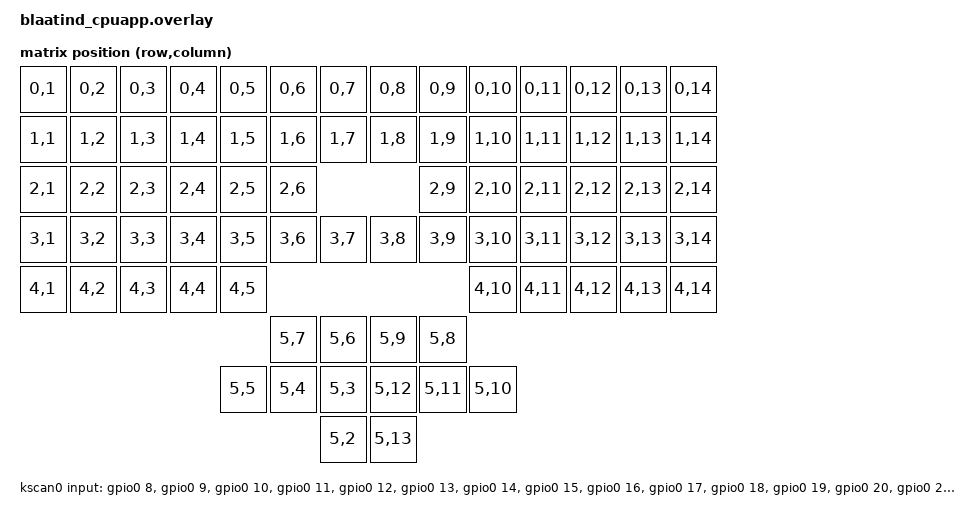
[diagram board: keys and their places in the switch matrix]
#include <dt-bindings/led/led.h>
#include <dt-bindings/zmk/matrix_transform.h>
#include <dt-bindings/led/led.h>

/{
    aliases {
        led-strip = &led_strip;
    };

    chosen {
        zmk,underglow = &led_strip;
    };
};

/ {
	chosen {
		zmk,kscan = &kscan0;
		zmk,matrix_transform = &default_transform;
		zmk,battery = &vbatt_vddh;
		zephyr,display = &oled;
	};

	ext-power {
		compatible = "zmk,ext-power-generic";
		label = "EXT_POWER";
		control-gpios = <&gpio0 3 GPIO_ACTIVE_HIGH>;
	};
	
	vbatt_vddh: vbatt0 {
		compatible = "zmk,battery-nrf-vddh";
		label = "BATTERY_VDDH";
	};
	
	vbatt_divider: vbatt1 {
		compatible = "zmk,battery-voltage-divider";
		label = "BATTERY_DIVIDER";
		io-channels = <&adc 2>;
		output-ohms = <180000>;
		full-ohms = <(180000 + 1500000)>;
	};

	kscan0: kscan {
		compatible="zmk,kscan-gpio-direct";
		label = "KSCAN";
		input-gpios =
			<&gpio0 8  (GPIO_ACTIVE_HIGH | GPIO_PULL_DOWN)>,
			<&gpio0 9  (GPIO_ACTIVE_HIGH | GPIO_PULL_DOWN)>,
			<&gpio0 10 (GPIO_ACTIVE_HIGH | GPIO_PULL_DOWN)>,
			<&gpio0 11 (GPIO_ACTIVE_HIGH | GPIO_PULL_DOWN)>,
			<&gpio0 12 (GPIO_ACTIVE_HIGH | GPIO_PULL_DOWN)>,
			<&gpio0 13 (GPIO_ACTIVE_HIGH | GPIO_PULL_DOWN)>,
			<&gpio0 14 (GPIO_ACTIVE_HIGH | GPIO_PULL_DOWN)>,
			<&gpio0 15 (GPIO_ACTIVE_HIGH | GPIO_PULL_DOWN)>,
			<&gpio0 16 (GPIO_ACTIVE_HIGH | GPIO_PULL_DOWN)>,
			<&gpio0 17 (GPIO_ACTIVE_HIGH | GPIO_PULL_DOWN)>,
			<&gpio0 18 (GPIO_ACTIVE_HIGH | GPIO_PULL_DOWN)>,
			<&gpio0 19 (GPIO_ACTIVE_HIGH | GPIO_PULL_DOWN)>,
			<&gpio0 20 (GPIO_ACTIVE_HIGH | GPIO_PULL_DOWN)>,
			<&gpio0 21 (GPIO_ACTIVE_HIGH | GPIO_PULL_DOWN)>,
			<&gpio0 22 (GPIO_ACTIVE_HIGH | GPIO_PULL_DOWN)>,
			<&gpio0 23 (GPIO_ACTIVE_HIGH | GPIO_PULL_DOWN)>,
			<&gpio0 24 (GPIO_ACTIVE_HIGH | GPIO_PULL_DOWN)>,
			<&gpio0 25 (GPIO_ACTIVE_HIGH | GPIO_PULL_DOWN)>,
			<&gpio0 26 (GPIO_ACTIVE_HIGH | GPIO_PULL_DOWN)>,
			<&gpio0 27 (GPIO_ACTIVE_HIGH | GPIO_PULL_DOWN)>,
			<&gpio0 28 (GPIO_ACTIVE_HIGH | GPIO_PULL_DOWN)>,
			<&gpio0 29 (GPIO_ACTIVE_HIGH | GPIO_PULL_DOWN)>,
			<&gpio0 30 (GPIO_ACTIVE_HIGH | GPIO_PULL_DOWN)>,
			<&gpio0 31 (GPIO_ACTIVE_HIGH | GPIO_PULL_DOWN)>,
			<&gpio1 0  (GPIO_ACTIVE_HIGH | GPIO_PULL_DOWN)>,
			<&gpio1 1  (GPIO_ACTIVE_HIGH | GPIO_PULL_DOWN)>,
			<&gpio1 4  (GPIO_ACTIVE_HIGH | GPIO_PULL_DOWN)>,
			<&gpio1 5  (GPIO_ACTIVE_HIGH | GPIO_PULL_DOWN)>,
			<&gpio1 6  (GPIO_ACTIVE_HIGH | GPIO_PULL_DOWN)>,
			<&gpio1 7  (GPIO_ACTIVE_HIGH | GPIO_PULL_DOWN)>,
			<&gpio1 8  (GPIO_ACTIVE_HIGH | GPIO_PULL_DOWN)>,
			<&gpio1 9  (GPIO_ACTIVE_HIGH | GPIO_PULL_DOWN)>,
			<&gpio1 10 (GPIO_ACTIVE_HIGH | GPIO_PULL_DOWN)>,
			<&gpio1 11 (GPIO_ACTIVE_HIGH | GPIO_PULL_DOWN)>,
			<&gpio1 12 (GPIO_ACTIVE_HIGH | GPIO_PULL_DOWN)>,
			<&gpio1 13 (GPIO_ACTIVE_HIGH | GPIO_PULL_DOWN)>,
			<&gpio1 14 (GPIO_ACTIVE_HIGH | GPIO_PULL_DOWN)>,
			<&gpio1 15 (GPIO_ACTIVE_HIGH | GPIO_PULL_DOWN)>
			;
	};

	default_transform: keymap_transform_0 {
		compatible = "zmk,matrix-transform";
		columns = <15>;
		rows = <7>;
		map = <
                                                
RC(0,1) RC(0,2) RC(0,3) RC(0,4) RC(0,5) RC(0,6) RC(0,7)   RC(0,8)  RC(0,9) RC(0,10) RC(0,11) RC(0,12) RC(0,13) RC(0,14)
RC(1,1) RC(1,2) RC(1,3) RC(1,4) RC(1,5) RC(1,6) RC(1,7)   RC(1,8)  RC(1,9) RC(1,10) RC(1,11) RC(1,12) RC(1,13) RC(1,14)
RC(2,1) RC(2,2) RC(2,3) RC(2,4) RC(2,5) RC(2,6)                    RC(2,9) RC(2,10) RC(2,11) RC(2,12) RC(2,13) RC(2,14)
RC(3,1) RC(3,2) RC(3,3) RC(3,4) RC(3,5) RC(3,6) RC(3,7)   RC(3,8)  RC(3,9) RC(3,10) RC(3,11) RC(3,12) RC(3,13) RC(3,14)
RC(4,1) RC(4,2) RC(4,3) RC(4,4) RC(4,5)                                    RC(4,10) RC(4,11) RC(4,12) RC(4,13) RC(4,14)
                                        RC(5,7) RC(5,6)   RC(5,9)  RC(5,8)
                                RC(5,5) RC(5,4) RC(5,3)   RC(5,12) RC(5,11) RC(5,10)
                                                RC(5,2)   RC(5,13)
		>;
	};
};

&i2c0 {
	status = "okay";

	oled: ssd1306@3c {
		compatible = "solomon,ssd1306fb";
		reg = <0x3c>;
		label = "DISPLAY";
		width = <128>;
		height = <32>;
		segment-offset = <0>;
		page-offset = <0>;
		display-offset = <0>;
		multiplex-ratio = <31>;
		com-sequential;
		prechargep = <0x22>;
	};
};

&spi1 {
  led_strip: ws2812@0 {
    compatible = "worldsemi,ws2812-spi";
    label = "SK6812mini";

    /* SPI */
    reg = <0>; /* ignored, but necessary for SPI bindings */
    spi-max-frequency = <4000000>;

    /* WS2812 */
    chain-length = <38>; /* number of LEDs */
    spi-one-frame = <0x70>;
    spi-zero-frame = <0x40>;
    color-mapping = <LED_COLOR_ID_GREEN
                     LED_COLOR_ID_RED
                     LED_COLOR_ID_BLUE>;
  };
};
